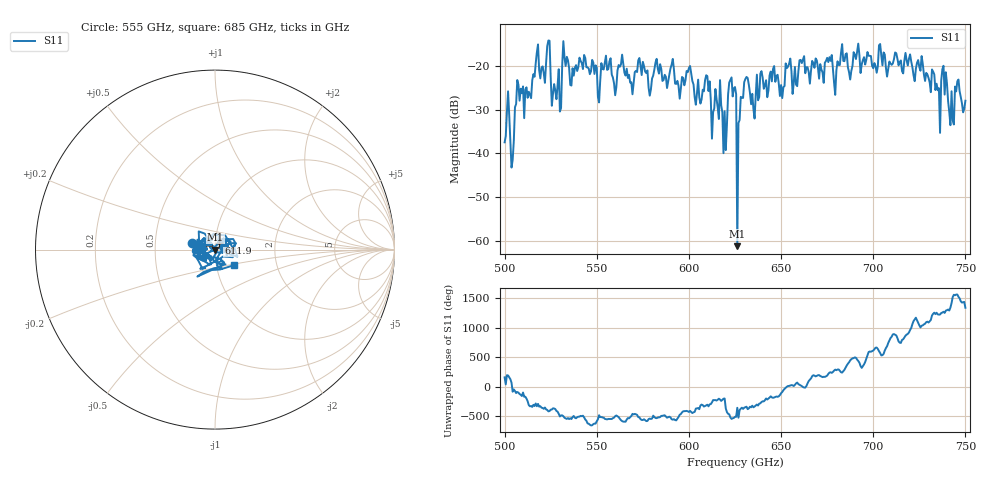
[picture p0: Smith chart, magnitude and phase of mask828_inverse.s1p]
!Created with skrf (http://scikit-rf.org).
# GHz S MA R 50.0
!freq magS11 angS11
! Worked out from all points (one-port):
!   401 points, 500 GHz to 750 GHz, reference 50 ohm
!   lowest |S11| = -61.3 dB at 626.2 GHz (marker M1), VSWR 1.00, Z = 50.1 - j0.00238 ohm
!   |S11| at or under -10 dB: start of sweep to end of sweep
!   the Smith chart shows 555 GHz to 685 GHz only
!   S11 on the Smith chart (normalised r, x): 555 GHz: 0.77, +0.06; 611.9 GHz: 1.04, +0.07; 685 GHz: 1.22, -0.21
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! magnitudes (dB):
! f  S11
! 500 GHz  -37.4
! 504.4 GHz  -41.5
! 506.9 GHz  -23.2
! 516.9 GHz  -19.3
! 523.8 GHz  -14.1
! 526.9 GHz  -24.1
! 531.2 GHz  -19.7
! 555 GHz  -17.6
! 562.5 GHz  -20.1
! 593.8 GHz  -23.3
! 600 GHz  -20.4
! 611.9 GHz  -27.8
! 619.4 GHz  -30.3
! 623.1 GHz  -22.6
! 624.4 GHz  -25.1
! 625 GHz  -24.8
! 626.2 GHz  -61.3
! 631.2 GHz  -22.4
! 635 GHz  -29.8
! 656.2 GHz  -26.3
! 685 GHz  -17.2
! 687.5 GHz  -23.0
! 718.8 GHz  -19.8
! 735 GHz  -25.5
! 738.8 GHz  -26.5
! 742.5 GHz  -25.7
! 745.6 GHz  -23.4
! 750 GHz  -27.9
